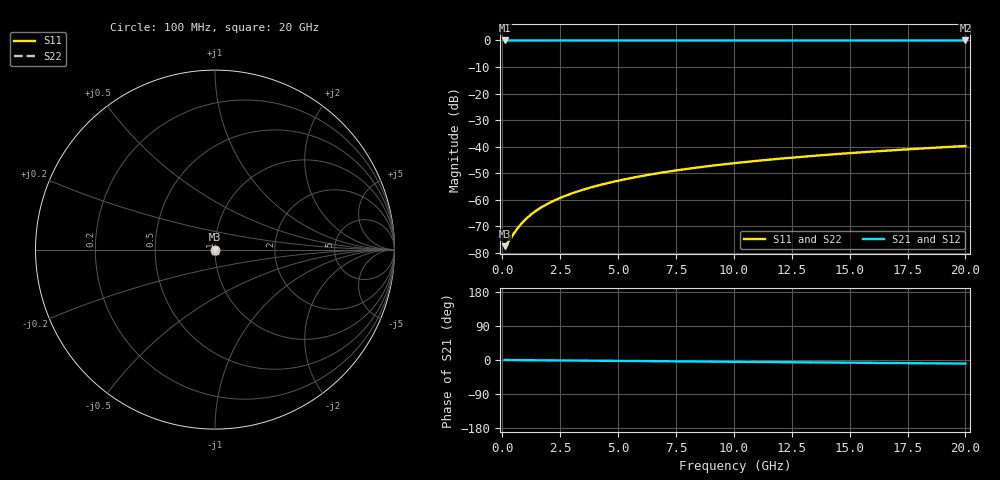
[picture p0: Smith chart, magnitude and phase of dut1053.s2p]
! Touchstone file exported from HFSS 2026.1.0
!  File:  C:/ffzhzh/LocalFiles/Ansys_Project_Files/temp_train_TSV_1053_1783189545_43440.aedt
!  Generated:  02:27:09 AM Jul  5, 2026
!  Design:  TSV
!  Project:  temp_train_TSV_1053_1783189545_43440
! Variables:
!  h_bsmrdl = 2um
!  h_ox = 20um
!  h_rdl = 5um
!  h_sub = 98um
!  h_tmrdl = 5um
!  h_tsv = 98um
!  h_via = 3um
!  l_bsmrdl = 300um
!  l_sub = 421.78um
!  l_tmrdl = 200um
!  m_sub = 200um
!  pitch = 41.47um
!  r_tsv = 10.89um
!  s_tmrdl = 10um
!  w_bsmrdl = 18um
!  w_sub = 500um
!  w_tmrdl = 12um
!  x_tsv_center1 = 206um
!  x_tsv_center2 = 524um
!  x_tsv_center3 = 736um
!  x_tsv_center4 = 1054um
!  x_tsv_center5 = 1266um
!  x_tsv_center6 = 1584um
# GHz S MA R 50.000000
! Terminal data exported
! Port[1] = TSV1_1_T1
! Port[2] = TSV1_1_T2
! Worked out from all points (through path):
!   200 points, 100 MHz to 20 GHz, reference 50 ohm
!   highest |S21| = 0.00 dB at 100 MHz (marker M1); lowest = 0.0 dB at 20 GHz (marker M2)
!   group delay of S21, straight-line fit = 1.31 ps
!   lowest |S11| = -77.5 dB at 100 MHz (marker M3), VSWR 1.00, Z = 50 + j8.72e-05 ohm
!   |S11| at or under -10 dB: start of sweep to end of sweep
!   |S22| runs from -77.5 to -39.8 dB; largest |S21 - S12| = 2.1e-15
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0.1  0.0001327 0.4  0.9999 -0.1  0.9999 -0.1  0.0001327 0.4
! Gamma 0 0 0 0
! Port Impedance 50 0 50 0
0.2  0.0001476 -0.7  0.9999 -0.1  0.9999 -0.1  0.0001476 -0.7
0.6  0.0002659 -17.7  0.9997 -0.3  0.9997 -0.3  0.0002659 -17.7
0.8  0.0003422 -27.0  0.9997 -0.4  0.9997 -0.4  0.0003422 -27.0
0.9  0.0003822 -31.1  0.9997 -0.4  0.9997 -0.4  0.0003822 -31.1
1.1  0.0004647 -38.2  0.9996 -0.5  0.9996 -0.5  0.0004647 -38.2
1.4  0.000592 -46.3  0.9996 -0.7  0.9996 -0.7  0.000592 -46.3
1.6  0.0006785 -50.5  0.9996 -0.8  0.9996 -0.8  0.0006785 -50.5
1.8  0.0007659 -53.9  0.9995 -0.9  0.9995 -0.9  0.000766 -53.9
2.3  0.0009884 -60.1  0.9995 -1.1  0.9995 -1.1  0.0009885 -60.1
2.9  0.001262 -65.0  0.9994 -1.4  0.9994 -1.4  0.001262 -65.0
3.5  0.001543 -68.3  0.9994 -1.7  0.9994 -1.7  0.001543 -68.3
4.2  0.001879 -71.2  0.9993 -2.0  0.9993 -2.0  0.001879 -71.2
5  0.002273 -73.6  0.9993 -2.4  0.9993 -2.4  0.002273 -73.6
5.9  0.002726 -75.8  0.9992 -2.8  0.9992 -2.8  0.002726 -75.8
6.8  0.003186 -77.6  0.9991 -3.2  0.9991 -3.2  0.003186 -77.6
8.3  0.003965 -80.1  0.999 -3.9  0.999 -3.9  0.003965 -80.0
10.1  0.004911 -82.5  0.9989 -4.8  0.9989 -4.8  0.004912 -82.5
11.7  0.005759 -84.3  0.9989 -5.5  0.9989 -5.5  0.00576 -84.3
13.4  0.006666 -86.0  0.9988 -6.3  0.9988 -6.3  0.006666 -86.0
16.7  0.008442 -88.8  0.9986 -7.9  0.9986 -7.9  0.008443 -88.8
20  0.01025 -91.2  0.9985 -9.4  0.9985 -9.4  0.01025 -91.1
